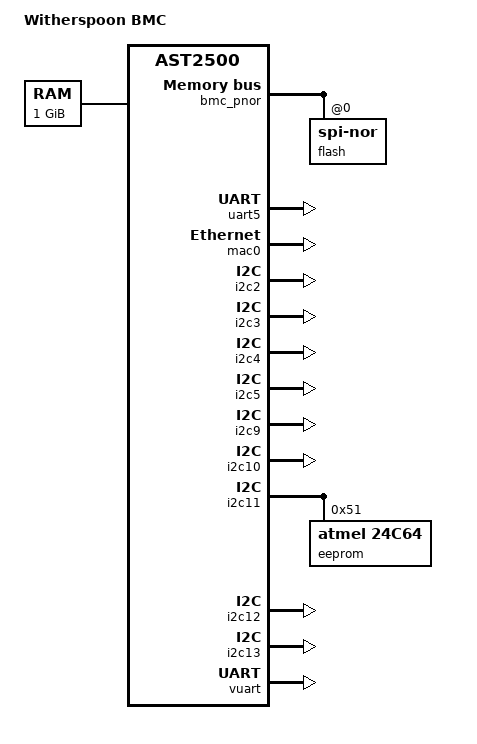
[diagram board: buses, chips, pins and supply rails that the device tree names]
/dts-v1/;

#include "aspeed-g5.dtsi"
#include <dt-bindings/gpio/gpio.h>

/ {
	model = "Witherspoon BMC";
	compatible = "ibm,witherspoon", "aspeed,ast2500";

	aliases {
		serial4 = &uart5;
	};

	chosen {
		stdout-path = &uart5;
		bootargs = "console=ttyS4,115200 earlyprintk";
	};

	memory {
		reg = <0x80000000 0x40000000>;
	};

	ahb {
		bmc_pnor: fmc@1e620000 {
			reg = < 0x1e620000 0x94
				0x20000000 0x02000000 >;
			#address-cells = <1>;
			#size-cells = <0>;
			compatible = "aspeed,ast2500-fmc";
			flash@0 {
				reg = < 0 >;
				compatible = "jedec,spi-nor" ;
#include "aspeed-bmc-opp-flash-layout.dtsi"
			};
		};
	};
};

&uart5 {
	status = "okay";
};

&mac0 {
	status = "okay";

	use-ncsi;
	no-hw-checksum;
};

&i2c0 {
	status = "disabled";
};

&i2c1 {
	status = "disabled";
};

&i2c2 {
	status = "okay";

	/* MUX ->
	 *    Samtec 1
	 *    Samtec 2
	 */

};

&i2c3 {
	status = "okay";

	/* CLK Buffer 9DBV0841 */
	/* CLK Buffer 9FGS9091 */
	/* APSS */

	/* 9516 (repeater) ->
	 *    Power Supply 0
	 *    Power Supply 1
	 *    Fir Card ->
	 *      MAX31785 Fan Cntl
	 *      BMP180 thermal sense
	 *    Regs 3.3VS, 1.1VCS, 5VCS, 1.8V
	 */

};

&i2c4 {
	status = "okay";

	/* CP1 TMP423A */
	/* CP1 VDN & VDDR */
	/* CP1 VDD & VCS */
	/* CP1 VIO */
};


&i2c5 {
	status = "okay";

	/* CP1 TMP423A */
	/* CP1 VDN & VDDR */
	/* CP1 VDD & VCS */
	/* CP1 VIO */
};

&i2c6 {
	status = "disabled";
};

&i2c7 {
	status = "disabled";
};

&i2c8 {
	status = "disabled";
};


&i2c9 {
	status = "okay";

	/* Tmp275 */

	/* MUX
	 *    -> PCIe Slot 3
	 *    -> PCIe Slot 4
	 *    -> PCA9517 -> PEX8725
	 */
};

&i2c10 {
	status = "okay";

	/* MUX
	 *    -> PCIe Slot 3
	 *    -> PCIe Slot 4
	 */
};

&i2c11 {
	status = "okay";

	/* TPM */
	/* 9552 */
	/* UCD Pmbus */
	/* RTC */
	/* EEPROM */

	eeprom@51 {
		compatible = "atmel,24c64";
		reg = <0x51>;
	};
};

&i2c12 {
	status = "okay";

	/* CP0 VPP */
};

&i2c13 {
	status = "okay";

	/* CP1 VPP */
};

&vuart {
	status = "okay";
};
